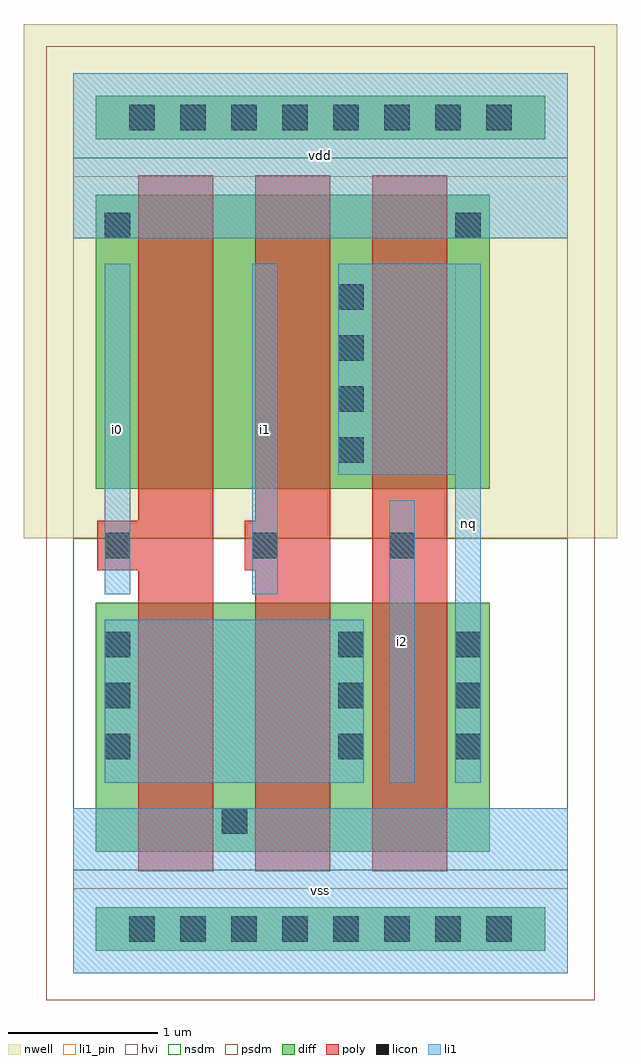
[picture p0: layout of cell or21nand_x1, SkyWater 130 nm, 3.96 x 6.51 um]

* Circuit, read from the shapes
.subckt or21nand_x1 i0 i1 i2 nq vdd vss
XM1 vss i0 n1 VSUBS sky130_fd_pr__nfet_g5v0d10v5 w=1.66 l=0.5
XM2 n1 i1 vss VSUBS sky130_fd_pr__nfet_g5v0d10v5 w=1.66 l=0.5
XM3 nq i2 n1 VSUBS sky130_fd_pr__nfet_g5v0d10v5 w=1.66 l=0.5
XM4 n2 i0 vdd n3 sky130_fd_pr__pfet_g5v0d10v5 w=1.96 l=0.5
XM5 nq i1 n2 n3 sky130_fd_pr__pfet_g5v0d10v5 w=1.96 l=0.5
XM6 vdd i2 nq n3 sky130_fd_pr__pfet_g5v0d10v5 w=1.96 l=0.5
.ends

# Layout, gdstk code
import gdstk
lib = gdstk.Library(unit=1e-6, precision=1e-09)
def R(c, l, rs):  # rectangles x0, y0, x1, y1
    for r in rs: c.add(gdstk.rectangle(r[:2], r[2:], *l))
def A(c, l, x, y, w, h, nx, ny, dx, dy):  # array of equal rectangles
    R(c, l, [(x+i*dx, y+j*dy, x+i*dx+w, y+j*dy+h) for i in range(nx) for j in range(ny)])
def P(c, l, *ps):  # polygons
    for p in ps: c.add(gdstk.Polygon(p, *l))
nwell = (64, 20)
diff = (65, 20)
poly = (66, 20)
licon = (66, 44)
li1_pin = (67, 16)
li1 = (67, 20)
hvi = (75, 20)
nsdm = (93, 44)
psdm = (94, 20)

or21nand_x1 = lib.new_cell('or21nand_x1')
R(or21nand_x1, nwell, [(-0.33,2.9,3.63,6.33)])
R(or21nand_x1, diff, [(0.15,0.15,3.15,0.44), (0.15,0.81,2.78,2.47), (0.15,3.23,2.78,5.19), (0.15,5.56,3.15,5.85)])
R(or21nand_x1, poly, [(1.995,0.68,2.495,5.32)])
P(or21nand_x1, poly, [(0.435,0.68),(0.435,2.685),(0.16,2.685),(0.16,3.015),(0.435,3.015),(0.435,5.32),(0.935,5.32),(0.935,0.68)],
  [(1.215,0.68),(1.215,2.685),(1.145,2.685),(1.145,3.015),(1.215,3.015),(1.215,5.32),(1.715,5.32),(1.715,0.68)])
A(or21nand_x1, licon, 0.375, 0.21, 0.17, 0.17, 8, 2, 0.34, 5.41)
A(or21nand_x1, licon, 0.21, 1.425, 0.17, 0.17, 1, 3, 0, 0.34)
A(or21nand_x1, licon, 1.77, 1.425, 0.17, 0.17, 1, 3, 0, 0.34)
A(or21nand_x1, licon, 2.55, 1.425, 0.17, 0.17, 1, 3, 0, 0.34)
A(or21nand_x1, licon, 1.77, 3.405, 0.17, 0.17, 1, 4, 0, 0.34)
R(or21nand_x1, licon, [(0.99,0.93,1.16,1.1), (0.21,2.765,0.38,2.935), (1.195,2.765,1.365,2.935), (2.11,2.765,2.28,2.935), (0.21,4.9,0.38,5.07), (2.55,4.9,2.72,5.07)])
R(or21nand_x1, li1_pin, [(0,0,3.3,1.1), (2.11,1.27,2.28,3.155), (2.55,1.27,2.72,4.73), (0.21,2.525,0.38,4.73), (1.195,2.525,1.365,4.73), (0,4.9,3.3,6)])
R(or21nand_x1, li1, [(0,0,3.3,1.1), (0.21,1.27,1.94,2.355), (2.11,1.27,2.28,3.155), (0.21,2.525,0.38,4.73), (1.195,2.525,1.365,4.73), (0,4.9,3.3,6)])
P(or21nand_x1, li1, [(2.55,1.27),(2.55,3.325),(1.77,3.325),(1.77,4.73),(2.72,4.73),(2.72,1.27)])
R(or21nand_x1, hvi, [(-0.18,-0.18,3.48,6.18)])
R(or21nand_x1, nsdm, [(0,0.685,3.3,2.9), (0,5.435,3.3,6)])
R(or21nand_x1, psdm, [(0,0,3.3,0.565), (0,2.9,3.3,5.315)])
or21nand_x1.add(gdstk.Label('vdd', (1.65,5.45), layer=67, texttype=16))
or21nand_x1.add(gdstk.Label('vss', (1.65,0.55), layer=67, texttype=16))
or21nand_x1.add(gdstk.Label('i0', (0.295,3.628), layer=67, texttype=16))
or21nand_x1.add(gdstk.Label('i1', (1.28,3.628), layer=67, texttype=16))
or21nand_x1.add(gdstk.Label('nq', (2.635,3), layer=67, texttype=16))
or21nand_x1.add(gdstk.Label('i2', (2.195,2.213), layer=67, texttype=16))

lib.write_gds('or21nand_x1.gds')
